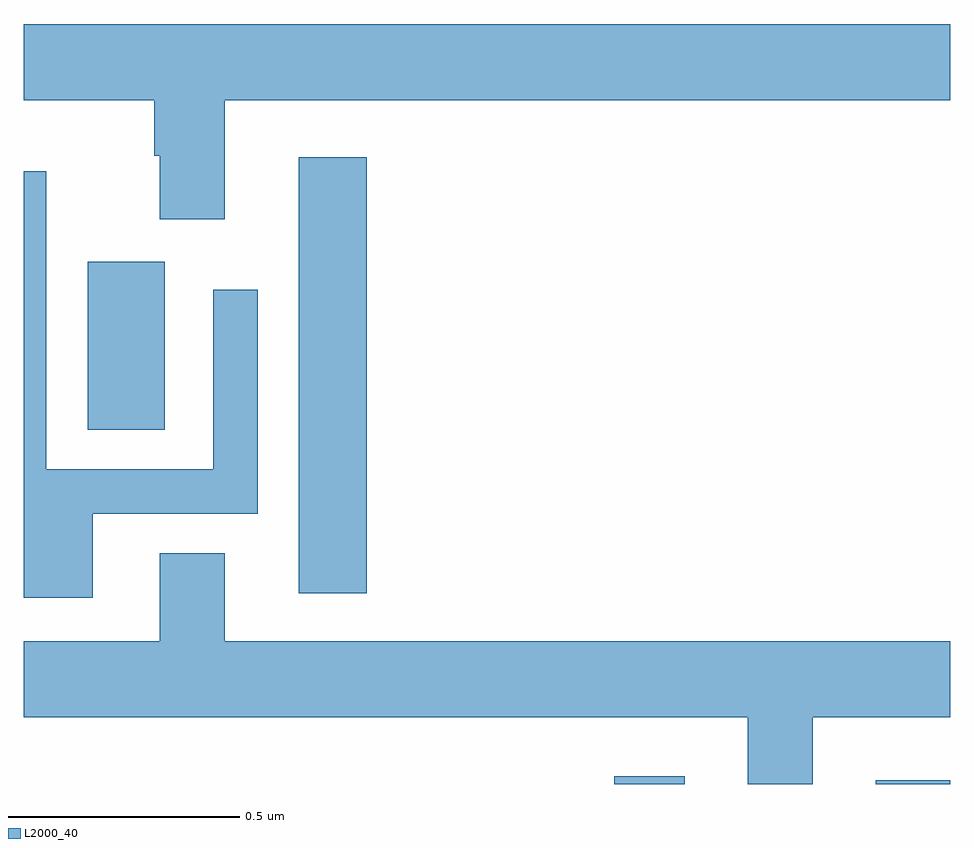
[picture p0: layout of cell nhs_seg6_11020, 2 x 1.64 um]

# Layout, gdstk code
import gdstk
lib = gdstk.Library(unit=1e-6, precision=1e-09)
def R(c, l, rs):  # rectangles x0, y0, x1, y1
    for r in rs: c.add(gdstk.rectangle(r[:2], r[2:], *l))
def P(c, l, *ps):  # polygons
    for p in ps: c.add(gdstk.Polygon(p, *l))
L2000_40 = (2000, 40)

nhs_seg6_11020 = lib.new_cell('nhs_seg6_11020')
R(nhs_seg6_11020, L2000_40, [(255.275,972.5,255.427,972.517), (255.839,972.5,256,972.508), (254.594,972.912,254.741,973.852), (254.138,973.264,254.305,973.627)])
P(nhs_seg6_11020, L2000_40, [(254.434,973.976),(256,973.976),(256,974.14),(254,974.14),(254,973.976),(254.282,973.976),(254.282,973.856),(254.294,973.856),(254.294,973.719),(254.434,973.719)],
  [(254.149,973.083),(254.505,973.083),(254.505,973.567),(254.409,973.567),(254.409,973.179),(254.049,973.179),(254.049,973.822),(254,973.822),(254,972.902),(254.149,972.902)],
  [(255.703,972.644),(256,972.644),(256,972.808),(254.434,972.808),(254.434,972.998),(254.294,972.998),(254.294,972.808),(254,972.808),(254,972.644),(255.563,972.644),(255.563,972.5),(255.703,972.5)])

lib.write_gds('nhs_seg6_11020.gds')
